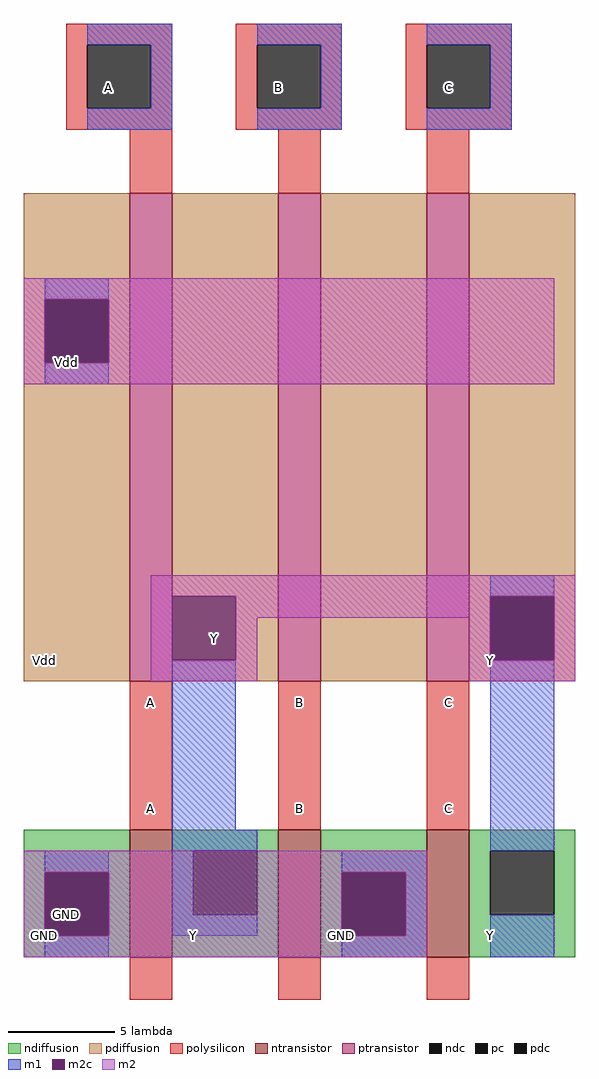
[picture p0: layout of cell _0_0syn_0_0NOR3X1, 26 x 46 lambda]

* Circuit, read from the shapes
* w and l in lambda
.subckt _0_0syn_0_0NOR3X1 GND Vdd C B A
M1 Y A GND VSUBS nfet w=6 l=2
M2 GND B Y VSUBS nfet w=6 l=2
M3 Y C GND VSUBS nfet w=6 l=2
M4 n1 A Vdd NWELL pfet w=23 l=2
M5 n2 B n1 NWELL pfet w=23 l=2
M6 Y C n2 NWELL pfet w=23 l=2
.ends

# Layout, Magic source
magic
tech sky130l
<< ndiffusion >>
rect 8 10 13 12
rect 8 7 9 10
rect 12 7 13 10
rect 8 6 13 7
rect 15 11 20 12
rect 15 8 16 11
rect 19 8 20 11
rect 15 6 20 8
rect 22 10 27 12
rect 22 7 23 10
rect 26 7 27 10
rect 22 6 27 7
rect 29 11 34 12
rect 29 8 30 11
rect 33 8 34 11
rect 29 6 34 8
<< ndc >>
rect 9 7 12 10
rect 16 8 19 11
rect 23 7 26 10
rect 30 8 33 11
<< ntransistor >>
rect 13 6 15 12
rect 20 6 22 12
rect 27 6 29 12
<< pdiffusion >>
rect 8 37 13 42
rect 8 34 9 37
rect 12 34 13 37
rect 8 19 13 34
rect 15 19 20 42
rect 22 19 27 42
rect 29 23 34 42
rect 29 20 30 23
rect 33 20 34 23
rect 29 19 34 20
<< pdc >>
rect 9 34 12 37
rect 30 20 33 23
<< ptransistor >>
rect 13 19 15 42
rect 20 19 22 42
rect 27 19 29 42
<< polysilicon >>
rect 10 49 15 50
rect 10 46 11 49
rect 14 46 15 49
rect 10 45 15 46
rect 18 49 23 50
rect 18 46 19 49
rect 22 46 23 49
rect 18 45 23 46
rect 26 49 31 50
rect 26 46 27 49
rect 30 46 31 49
rect 26 45 31 46
rect 13 42 15 45
rect 20 42 22 45
rect 27 42 29 45
rect 13 12 15 19
rect 20 12 22 19
rect 27 12 29 19
rect 13 4 15 6
rect 20 4 22 6
rect 27 4 29 6
<< pc >>
rect 11 46 14 49
rect 19 46 22 49
rect 27 46 30 49
<< m1 >>
rect 11 49 15 50
rect 14 46 15 49
rect 11 45 15 46
rect 19 49 23 50
rect 22 46 23 49
rect 19 45 23 46
rect 27 49 31 50
rect 30 46 31 49
rect 27 45 31 46
rect 9 37 12 38
rect 9 33 12 34
rect 30 23 33 24
rect 15 12 18 20
rect 15 11 19 12
rect 30 11 33 20
rect 9 10 12 11
rect 15 8 16 11
rect 15 7 19 8
rect 23 10 27 11
rect 26 7 27 10
rect 9 6 12 7
rect 23 6 27 7
rect 30 6 33 8
<< m2c >>
rect 9 34 12 37
rect 15 20 18 23
rect 30 20 33 23
rect 9 7 12 10
rect 23 7 26 10
<< m2 >>
rect 8 37 33 38
rect 8 34 9 37
rect 12 34 33 37
rect 8 33 33 34
rect 14 23 34 24
rect 14 20 15 23
rect 18 22 30 23
rect 18 20 19 22
rect 14 19 19 20
rect 29 20 30 22
rect 33 20 34 23
rect 29 19 34 20
rect 8 10 27 11
rect 8 7 9 10
rect 12 7 23 10
rect 26 7 27 10
rect 8 6 27 7
<< labels >>
rlabel ndiffusion 30 7 30 7 3 Y
rlabel pdiffusion 30 20 30 20 3 Y
rlabel polysilicon 28 13 28 13 3 C
rlabel polysilicon 28 18 28 18 3 C
rlabel ndiffusion 23 7 23 7 3 GND
rlabel polysilicon 21 13 21 13 3 B
rlabel polysilicon 21 18 21 18 3 B
rlabel ndiffusion 16 7 16 7 3 Y
rlabel polysilicon 14 13 14 13 3 A
rlabel polysilicon 14 18 14 18 3 A
rlabel ndiffusion 9 7 9 7 3 GND
rlabel pdiffusion 9 20 9 20 3 Vdd
rlabel pc 12 47 12 47 3 A
port 6 e
rlabel pc 20 47 20 47 3 B
port 4 e
rlabel pc 28 47 28 47 3 C
port 3 e
rlabel m1 10 34 10 34 3 Vdd
port 2 e
rlabel m2c 17 21 17 21 1 Y
rlabel ndc 10 8 10 8 3 GND
port 1 e
<< end >>
